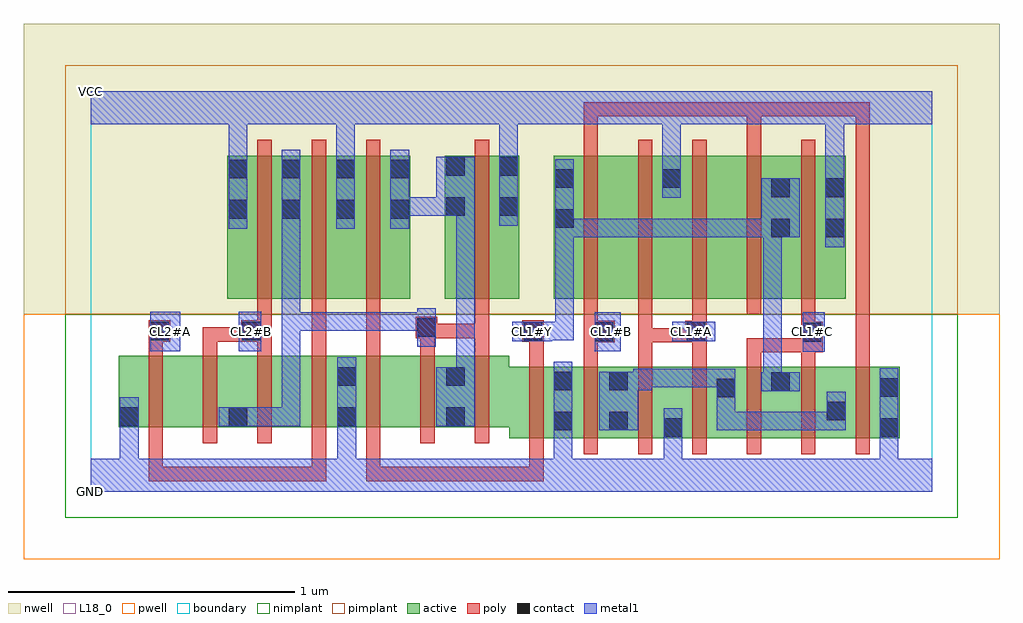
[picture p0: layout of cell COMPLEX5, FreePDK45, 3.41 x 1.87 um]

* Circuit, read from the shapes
.subckt COMPLEX5 CL1#A CL1#B CL1#C CL1#Y CL2#A CL2#B CL2#Y GND VCC
M1 n1 CL2#A GND VSUBS nfet w=0.25u l=0.05u
M2 CL2#Y CL2#B n1 VSUBS nfet w=0.25u l=0.05u
M3 n2 CL2#B CL2#Y VSUBS nfet w=0.25u l=0.05u
M4 GND CL2#A n2 VSUBS nfet w=0.25u l=0.05u
M5 n3 CL1#Y GND VSUBS nfet w=0.25u l=0.05u
M6 n4 CL2#Y n3 VSUBS nfet w=0.25u l=0.05u
M7 n5 CL2#Y n4 VSUBS nfet w=0.25u l=0.05u
M8 GND CL1#Y n5 VSUBS nfet w=0.25u l=0.05u
M9 n6 CL1#B GND VSUBS nfet w=0.25u l=0.05u m=2
M10 GND CL1#A n6 VSUBS nfet w=0.25u l=0.05u m=2
M11 CL1#Y CL1#C n6 VSUBS nfet w=0.25u l=0.05u m=2
M12 CL2#Y CL2#B VCC n7 pfet w=0.5u l=0.05u
M13 VCC CL2#A CL2#Y n7 pfet w=0.5u l=0.05u
M14 n4 CL1#Y VCC n7 pfet w=0.5u l=0.05u
M15 VCC CL2#Y n4 n7 pfet w=0.5u l=0.05u
M16 n8 CL1#B CL1#Y n7 pfet w=0.5u l=0.05u
M17 VCC CL1#A n8 n7 pfet w=0.5u l=0.05u
M18 n9 CL1#A VCC n7 pfet w=0.5u l=0.05u
M19 CL1#Y CL1#B n9 n7 pfet w=0.5u l=0.05u
M20 VCC CL1#C CL1#Y n7 pfet w=0.5u l=0.05u
.ends

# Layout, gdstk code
import gdstk
lib = gdstk.Library(unit=1e-6, precision=1e-09)
def R(c, l, rs):  # rectangles x0, y0, x1, y1
    for r in rs: c.add(gdstk.rectangle(r[:2], r[2:], *l))
def A(c, l, x, y, w, h, nx, ny, dx, dy):  # array of equal rectangles
    R(c, l, [(x+i*dx, y+j*dy, x+i*dx+w, y+j*dy+h) for i in range(nx) for j in range(ny)])
active = (1, 0)
pwell = (2, 0)
nwell = (3, 0)
nimplant = (4, 0)
pimplant = (5, 0)
poly = (9, 0)
contact = (10, 0)
metal1 = (11, 0)
L18_0 = (18, 0)
boundary = (235, 0)

complex5 = lib.new_cell('COMPLEX5')
A(complex5, active, 0.097, 0.225, 0.225, 0.25, 4, 1, 0.38, 0)
A(complex5, active, 0.322, 0.225, 0.23, 0.25, 3, 1, 0.38, 0)
A(complex5, active, 0.662, 0.675, 0.075, 0.5, 3, 1, 0.19, 0)
R(complex5, active, [(1.462,0.187,1.687,0.437), (1.612,0.187,1.882,0.437), (1.612,0.187,1.687,0.425), (1.807,0.187,2.072,0.437), (1.997,0.187,2.257,0.437), (1.997,0.187,2.072,0.342), (2.182,0.187,2.447,0.437), (2.372,0.187,2.642,0.437), (2.567,0.187,2.827,0.437), (2.752,0.187,2.827,0.437), (1.807,0.2,1.882,0.425), (2.182,0.2,2.257,0.437), (2.567,0.2,2.642,0.342), (0.097,0.225,0.172,0.475), (0.477,0.225,0.552,0.467), (0.857,0.225,0.932,0.44), (1.237,0.225,1.312,0.467), (2.372,0.315,2.447,0.422), (0.477,0.675,0.552,1.175), (0.477,0.675,0.737,1.175), (0.662,0.675,0.927,1.175), (0.852,0.675,1.117,1.175), (1.237,0.675,1.312,1.175), (1.237,0.675,1.497,1.175), (1.422,0.675,1.497,1.175), (1.617,0.675,1.692,1.175), (1.617,0.675,1.842,1.175), (1.842,0.675,2.067,1.175), (1.992,0.675,2.067,1.175), (1.992,0.675,2.222,1.175), (2.222,0.675,2.447,1.175), (2.372,0.675,2.447,1.175), (2.372,0.675,2.637,1.175), (2.562,0.675,2.637,1.175)])
R(complex5, pwell, [(-0.235,-0.235,3.175,0.62)])
R(complex5, nwell, [(-0.235,0.62,3.175,1.635)])
R(complex5, nimplant, [(-0.09,-0.09,3.03,0.62)])
R(complex5, pimplant, [(-0.09,0.62,3.03,1.49)])
A(complex5, poly, 1.532, 0.132, 0.05, 0.36, 7, 1, 0.19, 0)
A(complex5, poly, 0.202, 0.17, 0.05, 0.36, 7, 1, 0.19, 0)
A(complex5, poly, 1.722, 0.442, 0.05, 0.13, 3, 1, 0.19, 0)
A(complex5, poly, 0.202, 0.48, 0.05, 0.095, 3, 1, 0.19, 0)
A(complex5, poly, 0.582, 0.62, 0.05, 0.61, 3, 1, 0.19, 0)
A(complex5, poly, 1.722, 0.62, 0.05, 0.61, 5, 1, 0.19, 0)
R(complex5, poly, [(0.202,0.037,0.252,0.087), (0.202,0.037,0.252,0.087), (0.202,0.037,0.252,0.087), (0.202,0.037,0.252,0.22), (0.202,0.037,0.385,0.087), (0.335,0.037,0.385,0.087), (0.335,0.037,0.69,0.087), (0.64,0.037,0.69,0.087), (0.64,0.037,0.69,0.087), (0.64,0.037,0.69,0.087), (0.64,0.037,0.822,0.087), (0.772,0.037,0.822,0.087), (0.772,0.037,0.822,0.087), (0.772,0.037,0.822,0.087), (0.772,0.037,0.822,0.22), (0.962,0.037,1.012,0.087), (0.962,0.037,1.012,0.087), (0.962,0.037,1.012,0.087), (0.962,0.037,1.26,0.087), (0.962,0.037,1.012,0.22), (1.21,0.037,1.26,0.087), (1.21,0.037,1.425,0.087), (1.375,0.037,1.425,0.087), (1.375,0.037,1.425,0.087), (1.375,0.037,1.425,0.087), (1.375,0.037,1.582,0.087), (1.532,0.037,1.582,0.087), (1.532,0.037,1.582,0.087), (1.532,0.037,1.582,0.087), (1.532,0.037,1.582,0.182), (1.532,0.442,1.582,0.575), (2.292,0.442,2.342,0.537), (2.482,0.442,2.532,0.537), (2.672,0.442,2.722,1.362), (0.772,0.48,0.822,0.625), (0.962,0.48,1.012,0.575), (1.152,0.48,1.202,0.587), (1.342,0.48,1.392,0.587), (2.292,0.487,2.342,0.537), (2.292,0.487,2.532,0.537), (2.482,0.487,2.532,0.537), (2.482,0.487,2.532,0.537), (2.482,0.487,2.557,0.595), (1.722,0.522,1.83,0.597), (1.912,0.522,1.962,0.572), (1.912,0.522,1.962,0.572), (1.912,0.522,1.962,0.572), (1.912,0.522,2.127,0.572), (1.912,0.522,1.962,0.67), (2.077,0.522,2.152,0.597), (0.202,0.525,0.277,0.6), (0.392,0.525,0.442,0.575), (0.392,0.525,0.575,0.575), (0.525,0.525,0.575,0.575), (0.525,0.525,0.575,0.575), (0.525,0.525,0.632,0.6), (0.962,0.525,1.012,0.575), (0.962,0.525,1.012,0.67), (1.507,0.525,1.582,0.6), (1.135,0.537,1.21,0.612), (1.16,0.537,1.21,0.587), (1.16,0.537,1.21,0.587), (1.16,0.537,1.392,0.587), (1.342,0.537,1.392,0.587), (1.342,0.537,1.392,0.67), (2.482,0.545,2.532,0.67), (1.722,0.547,1.772,0.67), (2.102,0.547,2.152,0.67), (0.582,0.55,0.632,0.67), (0.772,0.575,0.822,0.625), (0.772,0.575,0.822,0.67), (1.342,0.62,1.392,1.23), (1.722,1.18,1.772,1.362), (2.292,1.18,2.342,1.362), (1.722,1.312,1.772,1.362), (1.722,1.312,1.772,1.362), (1.722,1.312,1.772,1.362), (1.722,1.312,1.995,1.362), (1.945,1.312,1.995,1.362), (1.945,1.312,1.995,1.362), (1.945,1.312,1.995,1.362), (1.945,1.312,2.127,1.362), (2.077,1.312,2.127,1.362), (2.077,1.312,2.127,1.362), (2.077,1.312,2.127,1.362), (2.077,1.312,2.342,1.362), (2.292,1.312,2.342,1.362), (2.292,1.312,2.342,1.362), (2.292,1.312,2.342,1.362), (2.292,1.312,2.59,1.362), (2.54,1.312,2.59,1.362), (2.54,1.312,2.722,1.362), (2.672,1.312,2.722,1.362), (2.672,1.312,2.722,1.362), (2.672,1.312,2.722,1.362), (2.672,1.312,2.722,1.362), (2.672,1.312,2.722,1.362), (2.672,1.312,2.722,1.362), (2.672,1.312,2.722,1.362), (2.672,1.312,2.722,1.362), (2.672,1.312,2.722,1.362), (2.672,1.312,2.722,1.362), (2.672,1.312,2.722,1.362), (2.672,1.312,2.722,1.362), (2.672,1.312,2.722,1.362)])
A(complex5, contact, 0.102, 0.23, 0.065, 0.065, 4, 1, 0.38, 0)
A(complex5, contact, 0.667, 0.955, 0.065, 0.065, 3, 2, 0.19, 0.14)
R(complex5, contact, [(2.002,0.192,2.067,0.257), (2.757,0.192,2.822,0.257), (1.617,0.215,1.682,0.28), (1.812,0.215,1.877,0.28), (2.572,0.25,2.637,0.315), (2.187,0.33,2.252,0.395), (2.757,0.332,2.822,0.397), (2.377,0.352,2.442,0.417), (1.617,0.355,1.682,0.42), (1.812,0.355,1.877,0.42), (0.862,0.37,0.927,0.435), (1.242,0.37,1.307,0.435), (2.487,0.525,2.552,0.59), (1.76,0.527,1.825,0.592), (2.082,0.527,2.147,0.592), (0.207,0.53,0.272,0.595), (0.53,0.53,0.595,0.595), (1.512,0.53,1.577,0.595), (1.14,0.542,1.205,0.607), (2.377,0.89,2.442,0.955), (2.567,0.89,2.632,0.955), (1.622,0.922,1.687,0.987), (0.482,0.955,0.547,1.02), (1.242,0.965,1.307,1.03), (1.427,0.965,1.492,1.03), (2.377,1.03,2.442,1.095), (2.567,1.03,2.632,1.095), (1.622,1.062,1.687,1.127), (1.997,1.062,2.062,1.127), (0.482,1.095,0.547,1.16), (1.242,1.105,1.307,1.17), (1.427,1.105,1.492,1.17)])
A(complex5, metal1, 0.667, 0.92, 0.065, 0.275, 3, 1, 0.19, 0)
R(complex5, metal1, [(0,0,2.94,0.115), (0.102,0.05,0.167,0.115), (0.102,0.05,0.167,0.115), (0.102,0.05,0.167,0.115), (0.102,0.05,0.167,0.115), (0.102,0.05,0.167,0.26), (0.862,0.05,0.927,0.115), (0.862,0.05,0.927,0.115), (0.862,0.05,0.927,0.26), (1.617,0.05,1.682,0.115), (1.617,0.05,1.682,0.115), (1.617,0.05,1.682,0.115), (1.617,0.05,1.682,0.115), (1.617,0.05,1.682,0.245), (2.002,0.05,2.067,0.222), (2.002,0.05,2.067,0.115), (2.002,0.05,2.067,0.115), (2.002,0.05,2.067,0.115), (2.002,0.05,2.067,0.115), (2.757,0.05,2.822,0.222), (2.757,0.05,2.822,0.115), (2.757,0.05,2.822,0.115), (2.757,0.05,2.822,0.115), (2.757,0.05,2.822,0.115), (2.002,0.157,2.067,0.292), (2.757,0.157,2.822,0.432), (1.617,0.18,1.682,0.455), (0.102,0.195,0.167,0.33), (0.862,0.195,0.927,0.47), (0.862,0.195,0.927,0.26), (0.862,0.195,0.927,0.26), (1.777,0.215,1.912,0.42), (2.187,0.215,2.252,0.28), (2.187,0.215,2.252,0.28), (2.187,0.215,2.252,0.28), (2.187,0.215,2.495,0.28), (2.187,0.215,2.252,0.36), (2.43,0.215,2.495,0.28), (2.43,0.215,2.637,0.28), (2.572,0.215,2.637,0.28), (2.572,0.215,2.637,0.28), (2.572,0.215,2.637,0.35), (0.447,0.23,0.582,0.295), (0.517,0.23,0.582,0.295), (0.517,0.23,0.582,0.295), (0.517,0.23,0.732,0.295), (0.667,0.23,0.732,0.295), (0.667,0.23,0.732,0.557), (1.207,0.23,1.342,0.435), (2.187,0.295,2.252,0.43), (2.342,0.352,2.477,0.417), (2.35,0.352,2.415,0.417), (2.35,0.352,2.415,0.417), (2.35,0.352,2.415,0.955), (1.847,0.355,1.96,0.42), (1.895,0.355,1.96,0.43), (1.895,0.365,2.097,0.43), (2.032,0.365,2.097,0.43), (2.032,0.365,2.097,0.43), (2.032,0.365,2.097,0.43), (2.032,0.365,2.252,0.43), (1.277,0.37,1.342,1.03), (2.487,0.49,2.565,0.627), (0.207,0.492,0.312,0.63), (0.517,0.492,0.595,0.63), (0.667,0.492,0.732,0.627), (1.76,0.492,1.852,0.627), (1.14,0.507,1.205,0.642), (1.472,0.527,1.612,0.595), (2.032,0.527,2.182,0.595), (1.547,0.53,1.687,0.595), (1.622,0.53,1.687,0.595), (1.622,0.53,1.687,0.952), (0.667,0.562,0.732,0.627), (0.667,0.562,0.732,0.627), (0.667,0.562,0.87,0.627), (0.667,0.562,0.732,0.985), (0.805,0.562,0.87,0.627), (0.805,0.562,0.87,0.627), (0.805,0.562,0.87,0.627), (0.805,0.562,1.007,0.627), (0.942,0.562,1.007,0.627), (0.942,0.562,1.205,0.627), (2.567,0.855,2.632,1.13), (1.622,0.887,1.687,1.162), (1.622,0.89,1.75,0.955), (1.685,0.89,1.75,0.955), (1.685,0.89,1.887,0.955), (1.822,0.89,1.887,0.955), (1.822,0.89,1.887,0.955), (1.822,0.89,1.887,0.955), (1.822,0.89,2.097,0.955), (2.032,0.89,2.097,0.955), (2.032,0.89,2.097,0.955), (2.032,0.89,2.097,0.955), (2.032,0.89,2.27,0.955), (2.205,0.89,2.27,0.955), (2.205,0.89,2.407,0.955), (2.342,0.89,2.407,0.955), (2.342,0.89,2.407,0.955), (2.342,0.89,2.477,1.095), (0.482,0.92,0.547,1.195), (1.427,0.93,1.492,1.205), (1.047,0.965,1.112,1.03), (1.047,0.965,1.112,1.03), (1.047,0.965,1.272,1.03), (1.207,0.965,1.342,1.17), (1.277,0.965,1.342,1.03), (1.277,0.965,1.342,1.03), (1.997,1.027,2.062,1.162), (2.567,1.065,2.632,1.35), (1.997,1.097,2.062,1.35), (0.482,1.13,0.547,1.35), (0.857,1.13,0.922,1.35), (1.427,1.14,1.492,1.205), (1.427,1.14,1.492,1.205), (1.427,1.14,1.492,1.35), (0,1.285,2.94,1.4), (0.482,1.285,0.547,1.35), (0.482,1.285,0.547,1.35), (0.857,1.285,0.922,1.35), (0.857,1.285,0.922,1.35), (1.997,1.285,2.062,1.35), (1.997,1.285,2.062,1.35), (2.567,1.285,2.632,1.35), (2.567,1.285,2.632,1.35)])
A(complex5, L18_0, 1.507, 0.527, 0.065, 0.065, 3, 1, 0.28, 0)
R(complex5, L18_0, [(0,0,2.94,0.115), (0.102,0.05,0.167,0.115), (0.102,0.05,0.167,0.115), (0.102,0.05,0.167,0.115), (0.102,0.05,0.167,0.115), (0.102,0.05,0.167,0.26), (0.862,0.05,0.927,0.115), (0.862,0.05,0.927,0.115), (0.862,0.05,0.927,0.26), (1.617,0.05,1.682,0.115), (1.617,0.05,1.682,0.115), (1.617,0.05,1.682,0.115), (1.617,0.05,1.682,0.115), (1.617,0.05,1.682,0.245), (2.002,0.05,2.067,0.115), (2.002,0.05,2.067,0.115), (2.002,0.05,2.067,0.115), (2.002,0.05,2.067,0.115), (2.002,0.05,2.067,0.222), (2.757,0.05,2.822,0.115), (2.757,0.05,2.822,0.115), (2.757,0.05,2.822,0.115), (2.757,0.05,2.822,0.115), (2.757,0.05,2.822,0.222), (2.002,0.157,2.067,0.292), (2.757,0.157,2.822,0.432), (1.617,0.18,1.682,0.455), (0.102,0.195,0.167,0.33), (0.862,0.195,0.927,0.26), (0.862,0.195,0.927,0.26), (0.862,0.195,0.927,0.47), (0.447,0.23,0.582,0.295), (0.517,0.23,0.582,0.295), (0.517,0.23,0.582,0.295), (0.517,0.23,0.732,0.295), (0.667,0.23,0.732,0.295), (0.667,0.23,0.732,0.557), (2.342,0.352,2.477,0.417), (2.35,0.352,2.415,0.417), (2.35,0.352,2.415,0.417), (2.35,0.352,2.415,0.955), (2.487,0.49,2.565,0.627), (0.207,0.492,0.312,0.63), (0.517,0.492,0.595,0.63), (0.667,0.492,0.732,0.627), (1.76,0.492,1.852,0.627), (1.14,0.507,1.205,0.642), (0.247,0.527,0.312,0.592), (0.527,0.527,0.592,0.592), (0.667,0.527,0.732,0.592), (1.472,0.527,1.612,0.595), (2.032,0.527,2.182,0.595), (2.487,0.527,2.552,0.592), (1.547,0.53,1.687,0.595), (1.622,0.53,1.687,0.595), (1.622,0.53,1.687,0.952), (0.667,0.562,0.732,0.627), (0.667,0.562,0.732,0.627), (0.667,0.562,0.732,0.985), (0.667,0.562,0.87,0.627), (0.805,0.562,0.87,0.627), (0.805,0.562,0.87,0.627), (0.805,0.562,0.87,0.627), (0.805,0.562,1.007,0.627), (0.942,0.562,1.007,0.627), (0.942,0.562,1.205,0.627), (2.567,0.855,2.632,1.13), (1.622,0.887,1.687,1.162), (1.622,0.89,1.75,0.955), (1.685,0.89,1.75,0.955), (1.685,0.89,1.887,0.955), (1.822,0.89,1.887,0.955), (1.822,0.89,1.887,0.955), (1.822,0.89,1.887,0.955), (1.822,0.89,2.097,0.955), (2.032,0.89,2.097,0.955), (2.032,0.89,2.097,0.955), (2.032,0.89,2.097,0.955), (2.032,0.89,2.27,0.955), (2.205,0.89,2.27,0.955), (2.205,0.89,2.407,0.955), (2.342,0.89,2.407,0.955), (2.342,0.89,2.407,0.955), (2.342,0.89,2.477,1.095), (0.482,0.92,0.547,1.195), (0.667,0.92,0.732,1.195), (0.857,0.92,0.922,1.195), (1.427,0.93,1.492,1.205), (1.997,1.027,2.062,1.162), (2.567,1.065,2.632,1.35), (1.997,1.097,2.062,1.35), (0.482,1.13,0.547,1.35), (0.857,1.13,0.922,1.35), (1.427,1.14,1.492,1.205), (1.427,1.14,1.492,1.205), (1.427,1.14,1.492,1.35), (0,1.285,2.94,1.4), (0.482,1.285,0.547,1.35), (0.482,1.285,0.547,1.35), (0.857,1.285,0.922,1.35), (0.857,1.285,0.922,1.35), (1.997,1.285,2.062,1.35), (1.997,1.285,2.062,1.35), (2.567,1.285,2.632,1.35), (2.567,1.285,2.632,1.35)])
R(complex5, boundary, [(0,0,2.94,1.4)])
complex5.add(gdstk.Label('CL1#A', (2.1,0.56), layer=11, texttype=0))
complex5.add(gdstk.Label('CL1#B', (1.82,0.56), layer=11, texttype=0))
complex5.add(gdstk.Label('CL1#C', (2.52,0.56), layer=11, texttype=0))
complex5.add(gdstk.Label('CL1#Y', (1.54,0.56), layer=11, texttype=0))
complex5.add(gdstk.Label('CL2#A', (0.28,0.56), layer=11, texttype=0))
complex5.add(gdstk.Label('CL2#B', (0.56,0.56), layer=11, texttype=0))
complex5.add(gdstk.Label('CL2#Y', (0.7,0.56), layer=11, texttype=0))
complex5.add(gdstk.Label('VCC', (0,1.4), layer=11, texttype=0))
complex5.add(gdstk.Label('GND', (0,0), layer=11, texttype=0))

lib.write_gds('COMPLEX5.gds')
